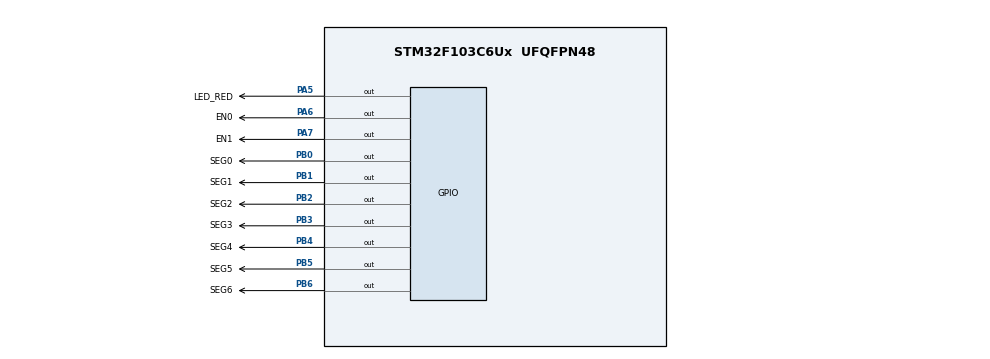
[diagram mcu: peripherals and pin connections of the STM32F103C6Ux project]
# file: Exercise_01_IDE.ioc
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Mcu.Family=STM32F1
Mcu.Name=STM32F103C6Ux
Mcu.Package=UFQFPN48
NVIC.PriorityGroup=NVIC_PRIORITYGROUP_4
NVIC.TIM2_IRQn=true\:0\:0\:false\:false\:true\:true\:true\:true
PA5.GPIO_Label=LED_RED
PA5.PinState=GPIO_PIN_SET
PA5.Signal=GPIO_Output
PA6.GPIO_Label=EN0
PA6.PinState=GPIO_PIN_SET
PA6.Signal=GPIO_Output
PA7.GPIO_Label=EN1
PA7.PinState=GPIO_PIN_SET
PA7.Signal=GPIO_Output
PB0.GPIO_Label=SEG0
PB0.PinState=GPIO_PIN_SET
PB0.Signal=GPIO_Output
PB1.GPIO_Label=SEG1
PB1.PinState=GPIO_PIN_SET
PB1.Signal=GPIO_Output
PB2.GPIO_Label=SEG2
PB2.PinState=GPIO_PIN_SET
PB2.Signal=GPIO_Output
PB3.GPIO_Label=SEG3
PB3.PinState=GPIO_PIN_SET
PB3.Signal=GPIO_Output
PB4.GPIO_Label=SEG4
PB4.PinState=GPIO_PIN_SET
PB4.Signal=GPIO_Output
PB5.GPIO_Label=SEG5
PB5.PinState=GPIO_PIN_SET
PB5.Signal=GPIO_Output
PB6.GPIO_Label=SEG6
PB6.PinState=GPIO_PIN_SET
PB6.Signal=GPIO_Output
ProjectManager.HeapSize=0x200
ProjectManager.StackSize=0x400
ProjectManager.TargetToolchain=STM32CubeIDE
RCC.APB1Freq_Value=8000000
RCC.APB2Freq_Value=8000000
TIM2.Period=499
TIM2.Prescaler=7999
VP_SYS_VS_ND.Mode=No_Debug
VP_TIM2_VS_ClockSourceINT.Mode=Internal
board=custom

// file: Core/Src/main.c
/* USER CODE BEGIN Header */
/**
  ******************************************************************************
  * @file           : main.c
  * @brief          : Main program body
  ******************************************************************************
  * @attention
  *
  * Copyright (c) 2026 STMicroelectronics.
  * All rights reserved.
  *
  * This software is licensed under terms that can be found in the LICENSE file
  * in the root directory of this software component.
  * If no LICENSE file comes with this software, it is provided AS-IS.
  *
  ******************************************************************************
  */
/* USER CODE END Header */
#include "main.h"

TIM_HandleTypeDef htim2;

/* USER CODE BEGIN PV */
volatile uint8_t current_led = 0;

const uint8_t seven_seg_table[10] =
{
    0x40, 0x79, 0x24, 0x30, 0x19,
    0x12, 0x02, 0x78, 0x00, 0x10
};

/* USER CODE END PV */

void SystemClock_Config(void);
static void MX_GPIO_Init(void);
static void MX_TIM2_Init(void);
/* USER CODE BEGIN PFP */
void display7SEG(int num);
void displayCurrentLED(void);

/* USER CODE END PFP */

/* USER CODE BEGIN 0 */
void display7SEG(int num)
{
    uint8_t data;

    if (num < 0 || num > 9)
        return;

    data = seven_seg_table[num];

    HAL_GPIO_WritePin(SEG0_GPIO_Port, SEG0_Pin,
                      (data & 0x01) ? GPIO_PIN_SET : GPIO_PIN_RESET);
    HAL_GPIO_WritePin(SEG1_GPIO_Port, SEG1_Pin,
                      (data & 0x02) ? GPIO_PIN_SET : GPIO_PIN_RESET);
    HAL_GPIO_WritePin(SEG2_GPIO_Port, SEG2_Pin,
                      (data & 0x04) ? GPIO_PIN_SET : GPIO_PIN_RESET);
    HAL_GPIO_WritePin(SEG3_GPIO_Port, SEG3_Pin,
                      (data & 0x08) ? GPIO_PIN_SET : GPIO_PIN_RESET);
    HAL_GPIO_WritePin(SEG4_GPIO_Port, SEG4_Pin,
                      (data & 0x10) ? GPIO_PIN_SET : GPIO_PIN_RESET);
    HAL_GPIO_WritePin(SEG5_GPIO_Port, SEG5_Pin,
                      (data & 0x20) ? GPIO_PIN_SET : GPIO_PIN_RESET);
    HAL_GPIO_WritePin(SEG6_GPIO_Port, SEG6_Pin,
                      (data & 0x40) ? GPIO_PIN_SET : GPIO_PIN_RESET);
}

void displayCurrentLED(void)
{
    HAL_GPIO_WritePin(EN0_GPIO_Port, EN0_Pin, GPIO_PIN_SET);
    HAL_GPIO_WritePin(EN1_GPIO_Port, EN1_Pin, GPIO_PIN_SET);

    if (current_led == 0)
    {
        display7SEG(1);
        HAL_GPIO_WritePin(EN0_GPIO_Port, EN0_Pin, GPIO_PIN_RESET);
    }
    else
    {
        display7SEG(2);
        HAL_GPIO_WritePin(EN1_GPIO_Port, EN1_Pin, GPIO_PIN_RESET);
    }
}

/* USER CODE END 0 */

int main(void)
{

  /* MCU Configuration--------------------------------------------------------*/

  /* Reset of all peripherals, Initializes the Flash interface and the Systick. */
  HAL_Init();

  /* Configure the system clock */
  SystemClock_Config();

  /* Initialize all configured peripherals */
  MX_GPIO_Init();
  MX_TIM2_Init();
  /* USER CODE BEGIN 2 */
  HAL_GPIO_WritePin(LED_RED_GPIO_Port, LED_RED_Pin, GPIO_PIN_RESET);
  current_led = 0;
  displayCurrentLED();

  HAL_TIM_Base_Start_IT(&htim2);

  /* USER CODE END 2 */

  /* Infinite loop */
  while (1)
  {

  }
}

void SystemClock_Config(void)
{
  RCC_OscInitTypeDef RCC_OscInitStruct = {0};
  RCC_ClkInitTypeDef RCC_ClkInitStruct = {0};

  /** Initializes the RCC Oscillators according to the specified parameters
  * in the RCC_OscInitTypeDef structure.
  */
  RCC_OscInitStruct.OscillatorType = RCC_OSCILLATORTYPE_HSI;
  RCC_OscInitStruct.HSIState = RCC_HSI_ON;
  RCC_OscInitStruct.HSICalibrationValue = RCC_HSICALIBRATION_DEFAULT;
  RCC_OscInitStruct.PLL.PLLState = RCC_PLL_NONE;
  if (HAL_RCC_OscConfig(&RCC_OscInitStruct) != HAL_OK)
  {
    Error_Handler();
  }

  /** Initializes the CPU, AHB and APB buses clocks
  */
  RCC_ClkInitStruct.ClockType = RCC_CLOCKTYPE_HCLK|RCC_CLOCKTYPE_SYSCLK
                              |RCC_CLOCKTYPE_PCLK1|RCC_CLOCKTYPE_PCLK2;
  RCC_ClkInitStruct.SYSCLKSource = RCC_SYSCLKSOURCE_HSI;
  RCC_ClkInitStruct.AHBCLKDivider = RCC_SYSCLK_DIV1;
  RCC_ClkInitStruct.APB1CLKDivider = RCC_HCLK_DIV1;
  RCC_ClkInitStruct.APB2CLKDivider = RCC_HCLK_DIV1;

  if (HAL_RCC_ClockConfig(&RCC_ClkInitStruct, FLASH_LATENCY_0) != HAL_OK)
  {
    Error_Handler();
  }
}

static void MX_TIM2_Init(void)
{

  TIM_ClockConfigTypeDef sClockSourceConfig = {0};
  TIM_MasterConfigTypeDef sMasterConfig = {0};

  htim2.Instance = TIM2;
  htim2.Init.Prescaler = 7999;
  htim2.Init.CounterMode = TIM_COUNTERMODE_UP;
  htim2.Init.Period = 499;
  htim2.Init.ClockDivision = TIM_CLOCKDIVISION_DIV1;
  htim2.Init.AutoReloadPreload = TIM_AUTORELOAD_PRELOAD_DISABLE;
  if (HAL_TIM_Base_Init(&htim2) != HAL_OK)
  {
    Error_Handler();
  }
  sClockSourceConfig.ClockSource = TIM_CLOCKSOURCE_INTERNAL;
  if (HAL_TIM_ConfigClockSource(&htim2, &sClockSourceConfig) != HAL_OK)
  {
    Error_Handler();
  }
  sMasterConfig.MasterOutputTrigger = TIM_TRGO_RESET;
  sMasterConfig.MasterSlaveMode = TIM_MASTERSLAVEMODE_DISABLE;
  if (HAL_TIMEx_MasterConfigSynchronization(&htim2, &sMasterConfig) != HAL_OK)
  {
    Error_Handler();
  }

}

static void MX_GPIO_Init(void)
{
  GPIO_InitTypeDef GPIO_InitStruct = {0};

  /* GPIO Ports Clock Enable */
  __HAL_RCC_GPIOA_CLK_ENABLE();
  __HAL_RCC_GPIOB_CLK_ENABLE();

  /*Configure GPIO pin Output Level */
  HAL_GPIO_WritePin(GPIOA, LED_RED_Pin|EN0_Pin|EN1_Pin, GPIO_PIN_SET);

  /*Configure GPIO pin Output Level */
  HAL_GPIO_WritePin(GPIOB, SEG0_Pin|SEG1_Pin|SEG2_Pin|SEG3_Pin
                          |SEG4_Pin|SEG5_Pin|SEG6_Pin, GPIO_PIN_SET);

  /*Configure GPIO pins : LED_RED_Pin EN0_Pin EN1_Pin */
  GPIO_InitStruct.Pin = LED_RED_Pin|EN0_Pin|EN1_Pin;
  GPIO_InitStruct.Mode = GPIO_MODE_OUTPUT_PP;
  GPIO_InitStruct.Pull = GPIO_NOPULL;
  GPIO_InitStruct.Speed = GPIO_SPEED_FREQ_LOW;
  HAL_GPIO_Init(GPIOA, &GPIO_InitStruct);

  /*Configure GPIO pins : SEG0_Pin SEG1_Pin SEG2_Pin SEG3_Pin
                           SEG4_Pin SEG5_Pin SEG6_Pin */
  GPIO_InitStruct.Pin = SEG0_Pin|SEG1_Pin|SEG2_Pin|SEG3_Pin
                          |SEG4_Pin|SEG5_Pin|SEG6_Pin;
  GPIO_InitStruct.Mode = GPIO_MODE_OUTPUT_PP;
  GPIO_InitStruct.Pull = GPIO_NOPULL;
  GPIO_InitStruct.Speed = GPIO_SPEED_FREQ_LOW;
  HAL_GPIO_Init(GPIOB, &GPIO_InitStruct);

}

/* USER CODE BEGIN 4 */
void HAL_TIM_PeriodElapsedCallback(TIM_HandleTypeDef *htim)
{
    if (htim->Instance == TIM2)
    {
        current_led++;

        if (current_led >= 2)
        {
            current_led = 0;
        }

        displayCurrentLED();
    }
}

/* USER CODE END 4 */

void Error_Handler(void)
{
  __disable_irq();
  while (1)
  {
  }
}
